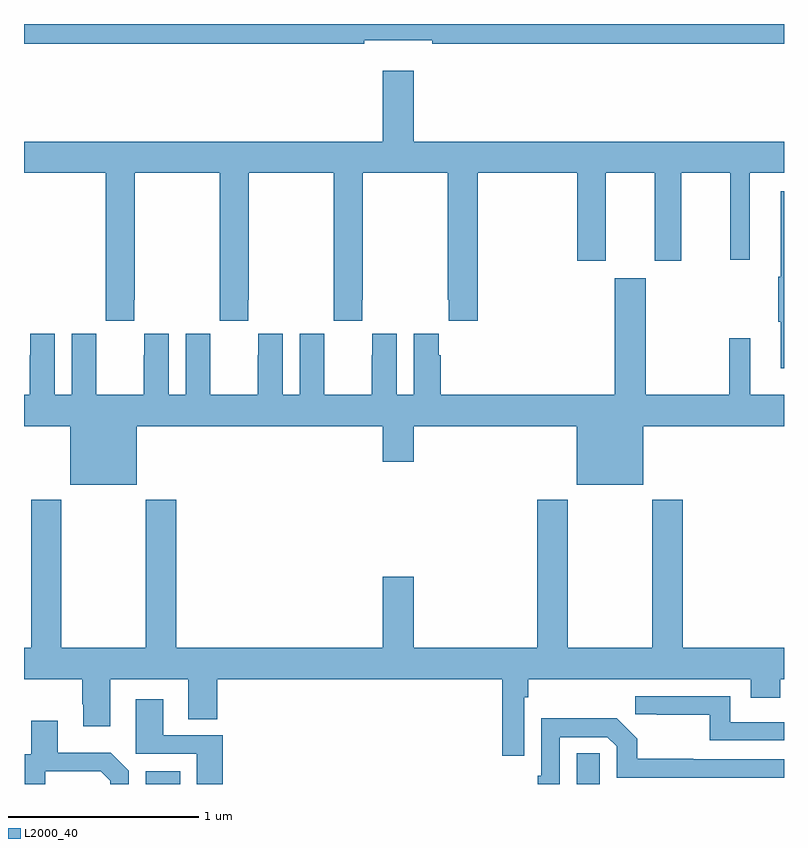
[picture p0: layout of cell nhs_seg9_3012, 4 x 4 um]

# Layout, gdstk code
import gdstk
lib = gdstk.Library(unit=1e-6, precision=1e-09)
def R(c, l, rs):  # rectangles x0, y0, x1, y1
    for r in rs: c.add(gdstk.rectangle(r[:2], r[2:], *l))
def P(c, l, *ps):  # polygons
    for p in ps: c.add(gdstk.Polygon(p, *l))
L2000_40 = (2000, 40)

nhs_seg9_3012 = lib.new_cell('nhs_seg9_3012')
R(nhs_seg9_3012, L2000_40, [(283.64,1230.5,283.822,1230.568), (285.908,1230.5,286.029,1230.662)])
P(nhs_seg9_3012, L2000_40, [(284.792,1234.415),(285.148,1234.415),(285.148,1234.396),(287,1234.396),(287,1234.5),(283,1234.5),(283,1234.396),(284.792,1234.396)],
  [(283,1233.716),(283.429,1233.716),(283.429,1233.049),(283.431,1233.049),(283.431,1232.937),(283.581,1232.937),(283.581,1233.049),(283.584,1233.049),(283.584,1233.716),(284.029,1233.716),(284.029,1233.049),(284.031,1233.049),(284.031,1232.937),(284.181,1232.937),(284.181,1233.049),(284.184,1233.049),(284.184,1233.716),(284.629,1233.716),(284.629,1233.049),(284.631,1233.049),(284.631,1232.937),(284.781,1232.937),(284.781,1233.049),(284.784,1233.049),(284.784,1233.716),(285.229,1233.716),(285.229,1233.049),(285.235,1233.049),(285.235,1232.937),(285.389,1232.937),(285.389,1233.716),(285.911,1233.716),(285.911,1233.255),(286.063,1233.255),(286.063,1233.716),(286.319,1233.716),(286.319,1233.255),(286.459,1233.255),(286.459,1233.716),(286.717,1233.716),(286.717,1233.258),(286.819,1233.258),(286.819,1233.716),(287,1233.716),(287,1233.88),(285.052,1233.88),(285.052,1234.255),(284.888,1234.255),(284.888,1233.88),(283,1233.88)],
  [(287,1233.619),(286.982,1233.619),(286.982,1233.17),(286.97,1233.17),(286.97,1232.932),(286.982,1232.932),(286.982,1232.688),(287,1232.688)],
  [(283.162,1232.869),(283.032,1232.869),(283.032,1232.756),(283.031,1232.756),(283.031,1232.548),(283,1232.548),(283,1232.384),(283.244,1232.384),(283.244,1232.075),(283.594,1232.075),(283.594,1232.384),(284.888,1232.384),(284.888,1232.196),(285.052,1232.196),(285.052,1232.384),(285.908,1232.384),(285.908,1232.075),(286.258,1232.075),(286.258,1232.384),(287,1232.384),(287,1232.548),(286.822,1232.548),(286.822,1232.845),(286.713,1232.845),(286.713,1232.548),(286.273,1232.548),(286.273,1233.163),(286.109,1233.163),(286.109,1232.548),(285.194,1232.548),(285.194,1232.756),(285.184,1232.756),(285.184,1232.869),(285.05,1232.869),(285.05,1232.548),(284.962,1232.548),(284.962,1232.869),(284.832,1232.869),(284.832,1232.756),(284.831,1232.756),(284.831,1232.548),(284.581,1232.548),(284.581,1232.756),(284.58,1232.756),(284.58,1232.869),(284.45,1232.869),(284.45,1232.548),(284.362,1232.548),(284.362,1232.869),(284.232,1232.869),(284.232,1232.756),(284.231,1232.756),(284.231,1232.548),(283.981,1232.548),(283.981,1232.756),(283.98,1232.756),(283.98,1232.869),(283.85,1232.869),(283.85,1232.548),(283.762,1232.548),(283.762,1232.869),(283.632,1232.869),(283.632,1232.756),(283.631,1232.756),(283.631,1232.548),(283.381,1232.548),(283.381,1232.756),(283.38,1232.756),(283.38,1232.869),(283.25,1232.869),(283.25,1232.548),(283.162,1232.548)],
  [(285.633,1230.956),(285.653,1230.956),(285.653,1231.052),(286.826,1231.052),(286.826,1230.953),(286.979,1230.953),(286.979,1231.052),(287,1231.052),(287,1231.216),(286.466,1231.216),(286.466,1231.996),(286.306,1231.996),(286.306,1231.216),(285.861,1231.216),(285.861,1231.996),(285.701,1231.996),(285.701,1231.216),(285.052,1231.216),(285.052,1231.591),(284.888,1231.591),(284.888,1231.216),(283.802,1231.216),(283.802,1231.996),(283.642,1231.996),(283.642,1231.216),(283.197,1231.216),(283.197,1231.996),(283.037,1231.996),(283.037,1231.216),(283,1231.216),(283,1231.052),(283.306,1231.052),(283.306,1230.919),(283.313,1230.919),(283.313,1230.804),(283.453,1230.804),(283.453,1231.052),(283.865,1231.052),(283.865,1230.841),(284.018,1230.841),(284.018,1231.052),(285.517,1231.052),(285.517,1230.648),(285.633,1230.648)],
  [(287,1230.825),(286.716,1230.825),(286.716,1230.963),(286.218,1230.963),(286.218,1230.868),(286.33,1230.868),(286.33,1230.865),(286.608,1230.865),(286.608,1230.729),(287,1230.729)],
  [(284.045,1230.756),(283.732,1230.756),(283.732,1230.946),(283.589,1230.946),(283.589,1230.66),(283.91,1230.66),(283.91,1230.5),(284.045,1230.5)],
  [(285.819,1230.747),(286.071,1230.747),(286.119,1230.699),(286.119,1230.534),(287,1230.534),(287,1230.63),(286.523,1230.63),(286.523,1230.633),(286.228,1230.633),(286.228,1230.737),(286.12,1230.845),(285.723,1230.845),(285.723,1230.544),(285.703,1230.544),(285.703,1230.5),(285.819,1230.5)],
  [(283.113,1230.567),(283.404,1230.567),(283.455,1230.516),(283.455,1230.5),(283.551,1230.5),(283.551,1230.57),(283.457,1230.664),(283.177,1230.664),(283.177,1230.832),(283.037,1230.832),(283.037,1230.657),(283.005,1230.657),(283.005,1230.5),(283.113,1230.5)])

lib.write_gds('nhs_seg9_3012.gds')
